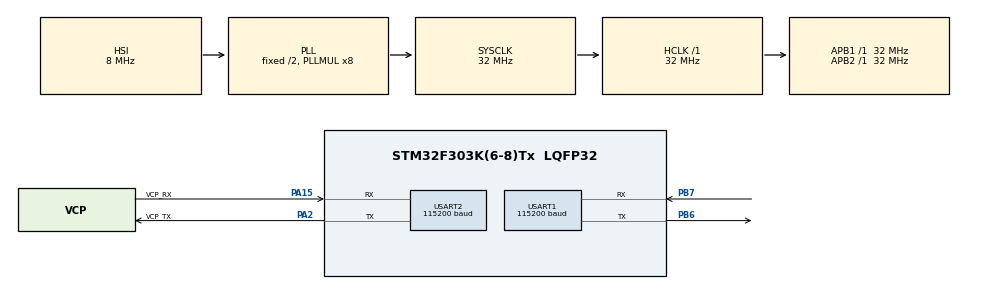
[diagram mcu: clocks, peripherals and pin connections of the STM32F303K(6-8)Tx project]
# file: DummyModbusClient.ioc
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Mcu.Family=STM32F3
Mcu.Name=STM32F303K(6-8)Tx
Mcu.Package=LQFP32
NVIC.PriorityGroup=NVIC_PRIORITYGROUP_4
PA13.GPIO_Label=SWDIO
PA13.Mode=Serial_Wire
PA13.Signal=SYS_JTMS-SWDIO
PA14.GPIO_Label=SWCLK
PA14.Mode=Serial_Wire
PA14.Signal=SYS_JTCK-SWCLK
PA15.GPIO_Label=VCP_RX
PA15.Mode=Asynchronous
PA15.Signal=USART2_RX
PA2.GPIO_Label=VCP_TX
PA2.Mode=Asynchronous
PA2.Signal=USART2_TX
PB6.Mode=Asynchronous
PB6.Signal=USART1_TX
PB7.Mode=Asynchronous
PB7.Signal=USART1_RX
PF0\ /\ OSC_IN.GPIO_Label=MCO
PF0\ /\ OSC_IN.Mode=HSE-External-Clock-Source
PF0\ /\ OSC_IN.Signal=RCC_OSC_IN
ProjectManager.HeapSize=0x200
ProjectManager.StackSize=0x400
ProjectManager.TargetToolchain=STM32CubeIDE
RCC.AHBFreq_Value=32000000
RCC.APB1Freq_Value=32000000
RCC.APB1TimFreq_Value=32000000
RCC.APB2Freq_Value=32000000
RCC.APB2TimFreq_Value=32000000
RCC.CortexFreq_Value=32000000
RCC.DATA_CACHE_ENABLE=1
RCC.HCLKFreq_Value=32000000
RCC.HSE_VALUE=8000000
RCC.HSI_VALUE=8000000
RCC.INSTRUCTION_CACHE_ENABLE=1
RCC.LSE_Drive_CapabilityArg=+LSE_Drive_Capability
RCC.PLLMUL=RCC_PLL_MUL8
RCC.SYSCLKFreq_VALUE=32000000
RCC.SYSCLKSourceVirtual=RCC_SYSCLKSOURCE_PLLCLK
USART1.BaudRate=115200
USART1.VirtualMode-Asynchronous=VM_ASYNC
USART2.BaudRate=115200
USART2.VirtualMode-Asynchronous=VM_ASYNC
board=NUCLEO-F303K8

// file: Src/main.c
/* USER CODE BEGIN Header */
/**
 ******************************************************************************
 * @file           : main.c
 * @brief          : Main program body
 ******************************************************************************
 * @attention
 *
 * Copyright (c) 2025 STMicroelectronics.
 * All rights reserved.
 *
 * This software is licensed under terms that can be found in the LICENSE file
 * in the root directory of this software component.
 * If no LICENSE file comes with this software, it is provided AS-IS.
 *
 ******************************************************************************
 */
/* USER CODE END Header */
#include "main.h"

/* USER CODE BEGIN Includes */
#include <stdio.h>

#include "port.h"
/* USER CODE END Includes */

UART_HandleTypeDef huart1;
UART_HandleTypeDef huart2;

void SystemClock_Config(void);
static void MX_GPIO_Init(void);
static void MX_USART1_UART_Init(void);
static void MX_USART2_UART_Init(void);
/* USER CODE BEGIN PFP */
#ifdef __GNUC__
#define PUTCHAR_PROTOTYPE int __io_putchar(int ch)
#else
#define PUTCHAR_PROTOTYPE int fputc(int ch, FILE* f)
#endif

PUTCHAR_PROTOTYPE
{
    HAL_UART_Transmit(&huart2, (uint8_t*)&ch, 1, HAL_MAX_DELAY);
    return ch;
}
/* USER CODE END PFP */

/* USER CODE BEGIN 0 */
nmbs_t nmbs;
/* USER CODE END 0 */

int main(void)
{

    /* MCU Configuration--------------------------------------------------------*/

    /* Reset of all peripherals, Initializes the Flash interface and the Systick. */
    HAL_Init();

    /* Configure the system clock */
    SystemClock_Config();

    /* Initialize all configured peripherals */
    MX_GPIO_Init();
    MX_USART1_UART_Init();
    MX_USART2_UART_Init();
    /* USER CODE BEGIN 2 */

    uint16_t regs_test[32];
    if (NMBS_ERROR_NONE != nmbs_client_init(&nmbs))
    {
        __BKPT();
    }

    printf("Hello, from dummy modbus client!\r\n");

    /* USER CODE END 2 */

    /* Infinite loop */
    /* USER CODE BEGIN WHILE */
    while (1)
    {
        nmbs_set_destination_rtu_address(&nmbs, 0x01);
        nmbs_error status = nmbs_read_holding_registers(&nmbs, 0, 4, regs_test);
        if (status != NMBS_ERROR_NONE)
        {
            __BKPT();
        }
        regs_test[0] = 0xBABE;
        regs_test[1] = 0xBABE;
        regs_test[2] = 0xBABE;
        regs_test[3] = 0xBABE;
        status = nmbs_write_multiple_registers(&nmbs, 0, 4, regs_test);
        HAL_Delay(500);

        /* USER CODE END WHILE */

    }
}

void SystemClock_Config(void)
{
    RCC_OscInitTypeDef RCC_OscInitStruct = {0};
    RCC_ClkInitTypeDef RCC_ClkInitStruct = {0};
    RCC_PeriphCLKInitTypeDef PeriphClkInit = {0};

    /** Initializes the RCC Oscillators according to the specified parameters
     * in the RCC_OscInitTypeDef structure.
     */
    RCC_OscInitStruct.OscillatorType = RCC_OSCILLATORTYPE_HSI;
    RCC_OscInitStruct.HSIState = RCC_HSI_ON;
    RCC_OscInitStruct.HSICalibrationValue = RCC_HSICALIBRATION_DEFAULT;
    RCC_OscInitStruct.PLL.PLLState = RCC_PLL_ON;
    RCC_OscInitStruct.PLL.PLLSource = RCC_PLLSOURCE_HSI;
    RCC_OscInitStruct.PLL.PLLMUL = RCC_PLL_MUL8;
    if (HAL_RCC_OscConfig(&RCC_OscInitStruct) != HAL_OK)
    {
        Error_Handler();
    }

    /** Initializes the CPU, AHB and APB buses clocks
     */
    RCC_ClkInitStruct.ClockType = RCC_CLOCKTYPE_HCLK | RCC_CLOCKTYPE_SYSCLK | RCC_CLOCKTYPE_PCLK1 | RCC_CLOCKTYPE_PCLK2;
    RCC_ClkInitStruct.SYSCLKSource = RCC_SYSCLKSOURCE_PLLCLK;
    RCC_ClkInitStruct.AHBCLKDivider = RCC_SYSCLK_DIV1;
    RCC_ClkInitStruct.APB1CLKDivider = RCC_HCLK_DIV1;
    RCC_ClkInitStruct.APB2CLKDivider = RCC_HCLK_DIV1;

    if (HAL_RCC_ClockConfig(&RCC_ClkInitStruct, FLASH_LATENCY_1) != HAL_OK)
    {
        Error_Handler();
    }
    PeriphClkInit.PeriphClockSelection = RCC_PERIPHCLK_USART1;
    PeriphClkInit.Usart1ClockSelection = RCC_USART1CLKSOURCE_PCLK1;
    if (HAL_RCCEx_PeriphCLKConfig(&PeriphClkInit) != HAL_OK)
    {
        Error_Handler();
    }
}

static void MX_USART1_UART_Init(void)
{

    huart1.Instance = USART1;
    huart1.Init.BaudRate = 115200;
    huart1.Init.WordLength = UART_WORDLENGTH_8B;
    huart1.Init.StopBits = UART_STOPBITS_1;
    huart1.Init.Parity = UART_PARITY_NONE;
    huart1.Init.Mode = UART_MODE_TX_RX;
    huart1.Init.HwFlowCtl = UART_HWCONTROL_NONE;
    huart1.Init.OverSampling = UART_OVERSAMPLING_16;
    huart1.Init.OneBitSampling = UART_ONE_BIT_SAMPLE_DISABLE;
    huart1.AdvancedInit.AdvFeatureInit = UART_ADVFEATURE_NO_INIT;
    if (HAL_UART_Init(&huart1) != HAL_OK)
    {
        Error_Handler();
    }
}

static void MX_USART2_UART_Init(void)
{

    huart2.Instance = USART2;
    huart2.Init.BaudRate = 115200;
    huart2.Init.WordLength = UART_WORDLENGTH_8B;
    huart2.Init.StopBits = UART_STOPBITS_1;
    huart2.Init.Parity = UART_PARITY_NONE;
    huart2.Init.Mode = UART_MODE_TX_RX;
    huart2.Init.HwFlowCtl = UART_HWCONTROL_NONE;
    huart2.Init.OverSampling = UART_OVERSAMPLING_16;
    huart2.Init.OneBitSampling = UART_ONE_BIT_SAMPLE_DISABLE;
    huart2.AdvancedInit.AdvFeatureInit = UART_ADVFEATURE_NO_INIT;
    if (HAL_UART_Init(&huart2) != HAL_OK)
    {
        Error_Handler();
    }
}

static void MX_GPIO_Init(void)
{

    /* GPIO Ports Clock Enable */
    __HAL_RCC_GPIOF_CLK_ENABLE();
    __HAL_RCC_GPIOA_CLK_ENABLE();
    __HAL_RCC_GPIOB_CLK_ENABLE();

}

void Error_Handler(void)
{
    __disable_irq();
    while (1)
    {
    }
}
